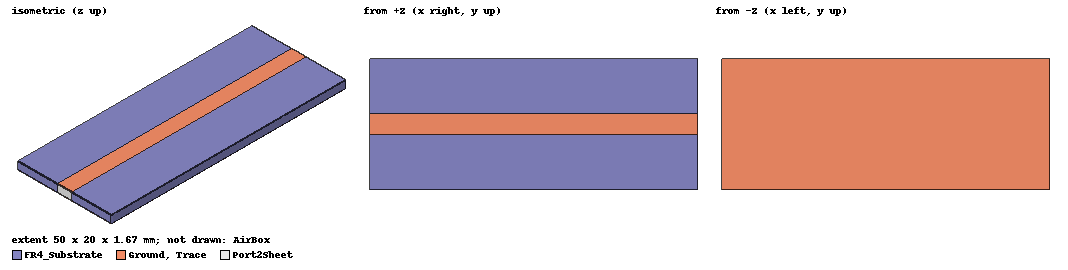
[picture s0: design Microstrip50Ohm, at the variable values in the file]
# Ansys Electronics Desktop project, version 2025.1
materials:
  vacuum: permittivity=1
  FR4_epoxy: permittivity=4.4 dielectric_loss_tangent=0.02
  copper: permeability=0.999991 conductivity=58000000
  air: permittivity=1.0006 permeability=1.0000004

design Microstrip50Ohm (HFSS, HFSS Modal Network, model units mm)
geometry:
  FR4_Substrate [FR4_epoxy] = box(corner=(0mm, -10mm, 0mm), size=(50mm, 20mm, 1.6mm))
  Ground [copper] = box(corner=(0mm, -10mm, -0.035mm), size=(50mm, 20mm, 0.035mm))
  Trace [copper] = box(corner=(0mm, -1.535mm, 1.6mm), size=(50mm, 3.07mm, 0.035mm))
  AirBox [air] = box(corner=(-5mm, -20mm, -10mm), size=(60mm, 40mm, 26.635mm))
  Port1Sheet = rectangle(corner=(0mm, -1.535mm, 0mm), y_size=3.07mm, z_size=1.635mm)
  Port2Sheet = rectangle(corner=(50mm, -1.535mm, 0mm), y_size=3.07mm, z_size=1.635mm)
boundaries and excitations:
  Radiation: Radiation Objects=AirBox
  Port1: Lumped Port Objects=Port1Sheet LumpedPortType=Modal Modes{Mode1{IntLine{(0, 0, 1.635) -> (0, 0, 0)} CharImp=Zpi RenormImp=50ohm}} Impedance=50ohm
  Port2: Lumped Port Objects=Port2Sheet LumpedPortType=Modal Modes{Mode1{IntLine{(50, 0, 1.635) -> (50, 0, 0)} CharImp=Zpi RenormImp=50ohm}} Impedance=50ohm
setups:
  Setup1: HfssDriven Frequency=10GHz MaxDeltaS=0.02 MaximumPasses=10 MinimumPasses=2 MinimumConvergedPasses=2 PercentRefinement=30 BasisOrder=1 PortAccuracy=2 DrivenSolverType="Direct Solver"
    sweep Sweep1: 1GHz to 10GHz, 181 points; Type=Interpolating InterpTolerance=0.25 InterpMaxSolns=80 InterpUsePortImped=false PassivityErrorTolerance=0.0001
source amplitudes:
  Port1:1: 1W 0deg
  Port2:1: 0W 0deg
